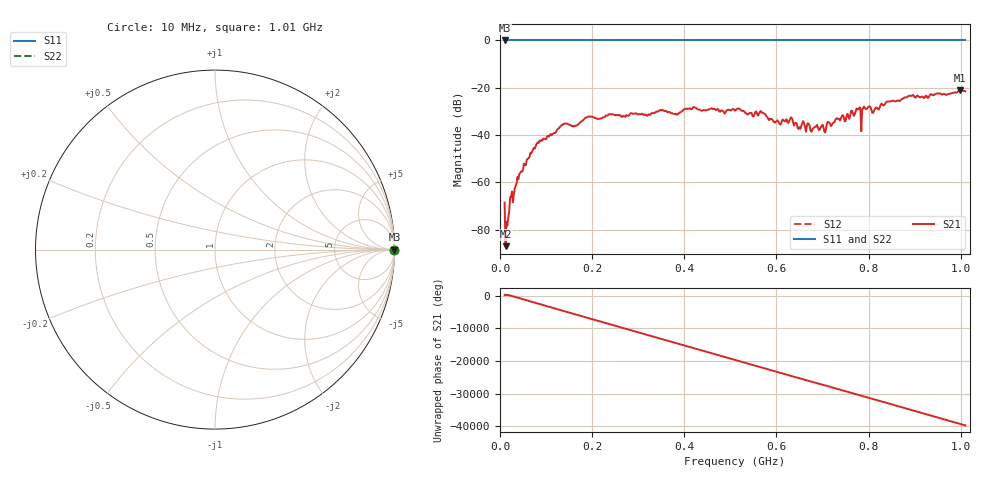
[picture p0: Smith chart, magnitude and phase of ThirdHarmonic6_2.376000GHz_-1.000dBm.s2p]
! 8/17/2025 3:45:16 AM
! C:\ANRITSUVNA\TEMP\TEMP.S2P
! CHANNEL.1
! TR.MEASUREMENT
! RAW.DATA
! RF.CORRECTION.OFF
! AVERAGING.OFF
! IF.BANDWIDTH: 5KHZ
! SWEEPTYPE:  FREQ.SWEEP(Linear)
! Reference Plane Port Info
! PORT:  PORT1  PORT2
! DISTANCE:  0  m  0  m
! TIME:  0  s  0  s
! PHASE.OFFSET:  0  deg.  0  deg.
! LOSS:  0  dB  0  dB
! REF.LOSS:  0  dB  0  dB
! REF.FREQ:  0  Hz  0  Hz
! Power Info
! POWER:  -20  dBm  -20  dBm
! EFF.POWER:  -20  dBm  -20  dBm
! SOURCE.ATTEN:  0  dB  0  dB
! TEST.ATTEN:  0  dB  0  dB
# GHZ S RI R 50.0
! FREQ.GHZ  S11RE  S11IM  S21RE  S21IM  S12RE  S12IM  S22RE  S22IM
!; PortSelection: Port_12
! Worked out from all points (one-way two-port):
!   501 points, 10 MHz to 1.01 GHz, reference 50 ohm
!   highest |S21| = -21.06 dB at 998 MHz (marker M1); lowest = -87.0 dB at 12 MHz (marker M2)
!   lowest |S11| = 0.0 dB at 10 MHz (marker M3)
!   |S11| at or under -10 dB: nowhere
!   |S22| runs from 0.0 to 0.0 dB; largest |S21 - S12| = 1.1
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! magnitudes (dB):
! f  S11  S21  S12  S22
! 10 MHz  0.0  -68.6  0.0  0.0
! 12 MHz  0.0  -87.0  0.0  0.0
! 16 MHz  0.0  -78.3  0.0  0.0
! 22 MHz  0.0  -66.3  0.0  0.0
! 42 MHz  0.0  -56.5  0.0  0.0
! 82 MHz  0.0  -43.1  0.0  0.0
! 136 MHz  0.0  -35.7  0.0  0.0
! 178 MHz  0.0  -34.1  0.0  0.0
! 344 MHz  0.0  -29.9  0.0  0.0
! 510 MHz  0.0  -29.7  0.0  0.0
! 568 MHz  0.0  -30.4  0.0  0.0
! 606 MHz  0.0  -35.1  0.0  0.0
! 632 MHz  0.0  -32.5  0.0  0.0
! 648 MHz  0.0  -37.5  0.0  0.0
! 678 MHz  0.0  -37.7  0.0  0.0
! 706 MHz  0.0  -38.9  0.0  0.0
! 778 MHz  0.0  -29.1  0.0  0.0
! 780 MHz  0.0  -28.4  0.0  0.0
! 810 MHz  0.0  -30.6  0.0  0.0
! 844 MHz  0.0  -25.8  0.0  0.0
! 998 MHz  0.0  -21.1  0.0  0.0
! 1.01 GHz  0.0  -21.5  0.0  0.0
